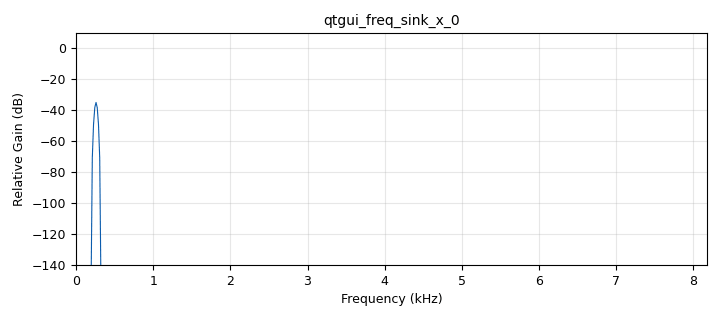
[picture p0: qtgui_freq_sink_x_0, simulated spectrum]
options:
  parameters:
    author: None
    copyright: None
    description: Audio Oscillator
    generate_options: qt_gui
    id: advanced_audio_oscillator
    output_language: python
    title: Advanced Audio Oscillator
  states: {}

blocks:
- name: audio_amplitude
  id: variable_qtgui_range
  parameters:
    label: Amplitude
    start: '0'
    step: '.1'
    stop: '6'
    value: '2'
  states: {}
- name: audio_tone
  id: variable_qtgui_range
  parameters:
    label: Tone
    start: '250'
    step: '1'
    stop: '4000'
    value: '250'
  states: {}
- name: samp_rate
  id: variable
  parameters:
    value: '5120000'
  states: {}
- name: analog_sig_source_x_0
  id: analog_sig_source_x
  parameters:
    amp: '.1'
    freq: audio_tone
    offset: '0'
    phase: '0'
    samp_rate: samp_rate
    type: float
    waveform: analog.GR_COS_WAVE
  states: {}
- name: audio_sink_0
  id: audio_sink
  parameters:
    samp_rate: '32000'
  states: {}
- name: blocks_multiply_const_vxx_0
  id: blocks_multiply_const_vxx
  parameters:
    const: audio_amplitude
    type: float
  states: {}
- name: qtgui_freq_sink_x_0
  id: qtgui_freq_sink_x
  parameters:
    bw: '16384'
    fc: '0'
    fftsize: '1024'
    freqhalf: 'False'
    type: float
  states: {}
- name: rational_resampler_xxx_0
  id: rational_resampler_xxx
  parameters:
    decim: '160'
    interp: '1'
    type: fff
  states: {}
- name: rational_resampler_xxx_1
  id: rational_resampler_xxx
  parameters:
    decim: '320'
    interp: '1'
    type: fff
  states: {}

connections:
- [analog_sig_source_x_0, '0', blocks_multiply_const_vxx_0, '0']
- [analog_sig_source_x_0, '0', rational_resampler_xxx_1, '0']
- [blocks_multiply_const_vxx_0, '0', rational_resampler_xxx_0, '0']
- [rational_resampler_xxx_0, '0', audio_sink_0, '0']
- [rational_resampler_xxx_1, '0', qtgui_freq_sink_x_0, '0']

metadata:
  file_format: 1
